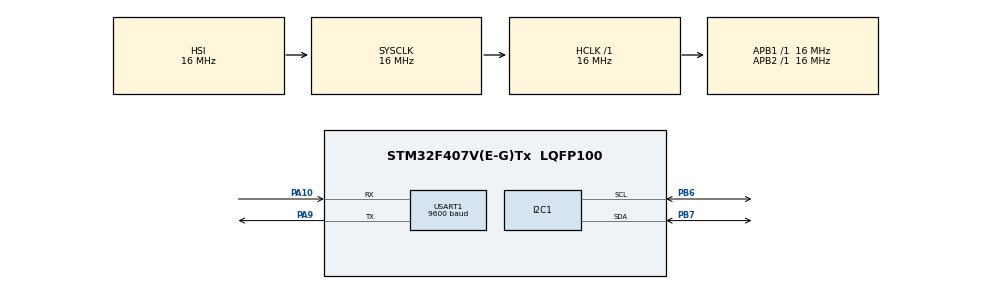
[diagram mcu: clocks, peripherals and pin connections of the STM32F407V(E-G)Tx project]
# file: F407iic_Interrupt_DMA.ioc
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Dma.I2C1_RX.0.Direction=DMA_PERIPH_TO_MEMORY
Dma.I2C1_RX.0.FIFOMode=DMA_FIFOMODE_DISABLE
Dma.I2C1_RX.0.Instance=DMA1_Stream0
Dma.I2C1_RX.0.MemDataAlignment=DMA_MDATAALIGN_BYTE
Dma.I2C1_RX.0.MemInc=DMA_MINC_ENABLE
Dma.I2C1_RX.0.Mode=DMA_NORMAL
Dma.I2C1_RX.0.PeriphDataAlignment=DMA_PDATAALIGN_BYTE
Dma.I2C1_RX.0.PeriphInc=DMA_PINC_DISABLE
Dma.I2C1_RX.0.Priority=DMA_PRIORITY_LOW
Dma.I2C1_TX.1.Direction=DMA_MEMORY_TO_PERIPH
Dma.I2C1_TX.1.FIFOMode=DMA_FIFOMODE_DISABLE
Dma.I2C1_TX.1.Instance=DMA1_Stream6
Dma.I2C1_TX.1.MemDataAlignment=DMA_MDATAALIGN_BYTE
Dma.I2C1_TX.1.MemInc=DMA_MINC_ENABLE
Dma.I2C1_TX.1.Mode=DMA_NORMAL
Dma.I2C1_TX.1.PeriphDataAlignment=DMA_PDATAALIGN_BYTE
Dma.I2C1_TX.1.PeriphInc=DMA_PINC_DISABLE
Dma.I2C1_TX.1.Priority=DMA_PRIORITY_LOW
Dma.Request0=I2C1_RX
Dma.Request1=I2C1_TX
Mcu.Family=STM32F4
Mcu.Name=STM32F407V(E-G)Tx
Mcu.Package=LQFP100
NVIC.DMA1_Stream0_IRQn=true\:0\:0\:false\:false\:true\:false\:true\:true
NVIC.DMA1_Stream6_IRQn=true\:0\:0\:false\:false\:true\:false\:true\:true
NVIC.I2C1_ER_IRQn=true\:0\:0\:false\:false\:true\:true\:true\:true
NVIC.I2C1_EV_IRQn=true\:0\:0\:false\:false\:true\:true\:true\:true
NVIC.PriorityGroup=NVIC_PRIORITYGROUP_4
PA10.Mode=Asynchronous
PA10.Signal=USART1_RX
PA9.Mode=Asynchronous
PA9.Signal=USART1_TX
PB6.Mode=I2C
PB6.Signal=I2C1_SCL
PB7.Mode=I2C
PB7.Signal=I2C1_SDA
ProjectManager.HeapSize=0x200
ProjectManager.StackSize=0x400
ProjectManager.TargetToolchain=STM32CubeIDE
RCC.AHBFreq_Value=16000000
RCC.APB1Freq_Value=16000000
RCC.APB2Freq_Value=16000000
RCC.CortexFreq_Value=16000000
RCC.HSE_VALUE=25000000
RCC.HSI_VALUE=16000000
RCC.LSE_VALUE=32768
RCC.SYSCLKFreq_VALUE=16000000
RCC.VCOOutputFreq_Value=192000000
USART1.BaudRate=9600
USART1.VirtualMode=VM_ASYNC
board=custom

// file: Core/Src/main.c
/* USER CODE BEGIN Header */
/**
  ******************************************************************************
  * @file           : main.c
  * @brief          : Main program body
  ******************************************************************************
  * @attention
  *
  * Copyright (c) 2024 STMicroelectronics.
  * All rights reserved.
  *
  * This software is licensed under terms that can be found in the LICENSE file
  * in the root directory of this software component.
  * If no LICENSE file comes with this software, it is provided AS-IS.
  *
  ******************************************************************************
  */
/* USER CODE END Header */
#include "main.h"
#include "dma.h"
#include "i2c.h"
#include "usart.h"
#include "gpio.h"

/* USER CODE BEGIN Includes */
#include <stdio.h>
#include <string.h>
/* USER CODE END Includes */

/* USER CODE BEGIN PV */
// 0:初始状态，发送命令 1:正在发送测量命令 2:测量命令发送完成 等待100ms读取SHT30数据 3:读取中 4:读取完成，解析并展示数据然后恢复到初始状态。
uint8_t sht30State = 0;
/* USER CODE END PV */

void SystemClock_Config(void);

/* USER CODE BEGIN 0 */
void HAL_I2C_MasterTxCpltCallback(I2C_HandleTypeDef *hi2c){
	if (hi2c == &hi2c1){
		sht30State = 2;
	}
}
void HAL_I2C_MasterRxCpltCallback(I2C_HandleTypeDef *hi2c){
	if (hi2c == &hi2c1){
		sht30State = 4;
	}
}
/* USER CODE END 0 */

int main(void)
{

  /* MCU Configuration--------------------------------------------------------*/

  /* Reset of all peripherals, Initializes the Flash interface and the Systick. */
  HAL_Init();

  /* Configure the system clock */
  SystemClock_Config();

  /* Initialize all configured peripherals */
  MX_GPIO_Init();
  MX_DMA_Init();
  MX_USART1_UART_Init();
  MX_I2C1_Init();
  /* USER CODE BEGIN 2 */
//  SHT30_Init();

  float temperture, humidity;
  char message[50];
  /* USER CODE END 2 */

  /* Infinite loop */
  /* USER CODE BEGIN WHILE */
  while (1)
  {
	  if (sht30State == 0){
		  SHT30_Measure();
		  sht30State = 1;
	  }else if (sht30State == 2){
		  HAL_Delay(1000);
		  SHT30_Get();
		  sht30State = 3;
	  }else if (sht30State == 4){
		  SHT30_Analysis(&temperture, &humidity);
		  sprintf(message, "温度: %.lf ℃, 湿度: %.lf %%\r\n", temperture, humidity);
		  HAL_UART_Transmit(&huart1, message, strlen(message), HAL_MAX_DELAY);

		  HAL_Delay(1000);
		  sht30State = 0;
	  }
//	  HAL_Delay(1000);
//	  SHT30_RepeatReadReg(&temperture, &humidity);
//	  sprintf(message, "温度: %.lf ℃, 湿度: %.lf %%\r\n", temperture, humidity);
//	  HAL_UART_Transmit(&huart1, message, strlen(message), HAL_MAX_DELAY);
    /* USER CODE END WHILE */

  }
}

void SystemClock_Config(void)
{
  RCC_OscInitTypeDef RCC_OscInitStruct = {0};
  RCC_ClkInitTypeDef RCC_ClkInitStruct = {0};

  /** Configure the main internal regulator output voltage
  */
  __HAL_RCC_PWR_CLK_ENABLE();
  __HAL_PWR_VOLTAGESCALING_CONFIG(PWR_REGULATOR_VOLTAGE_SCALE1);

  /** Initializes the RCC Oscillators according to the specified parameters
  * in the RCC_OscInitTypeDef structure.
  */
  RCC_OscInitStruct.OscillatorType = RCC_OSCILLATORTYPE_HSI;
  RCC_OscInitStruct.HSIState = RCC_HSI_ON;
  RCC_OscInitStruct.HSICalibrationValue = RCC_HSICALIBRATION_DEFAULT;
  RCC_OscInitStruct.PLL.PLLState = RCC_PLL_NONE;
  if (HAL_RCC_OscConfig(&RCC_OscInitStruct) != HAL_OK)
  {
    Error_Handler();
  }

  /** Initializes the CPU, AHB and APB buses clocks
  */
  RCC_ClkInitStruct.ClockType = RCC_CLOCKTYPE_HCLK|RCC_CLOCKTYPE_SYSCLK
                              |RCC_CLOCKTYPE_PCLK1|RCC_CLOCKTYPE_PCLK2;
  RCC_ClkInitStruct.SYSCLKSource = RCC_SYSCLKSOURCE_HSI;
  RCC_ClkInitStruct.AHBCLKDivider = RCC_SYSCLK_DIV1;
  RCC_ClkInitStruct.APB1CLKDivider = RCC_HCLK_DIV1;
  RCC_ClkInitStruct.APB2CLKDivider = RCC_HCLK_DIV1;

  if (HAL_RCC_ClockConfig(&RCC_ClkInitStruct, FLASH_LATENCY_0) != HAL_OK)
  {
    Error_Handler();
  }
}

void Error_Handler(void)
{
  __disable_irq();
  while (1)
  {
  }
}
